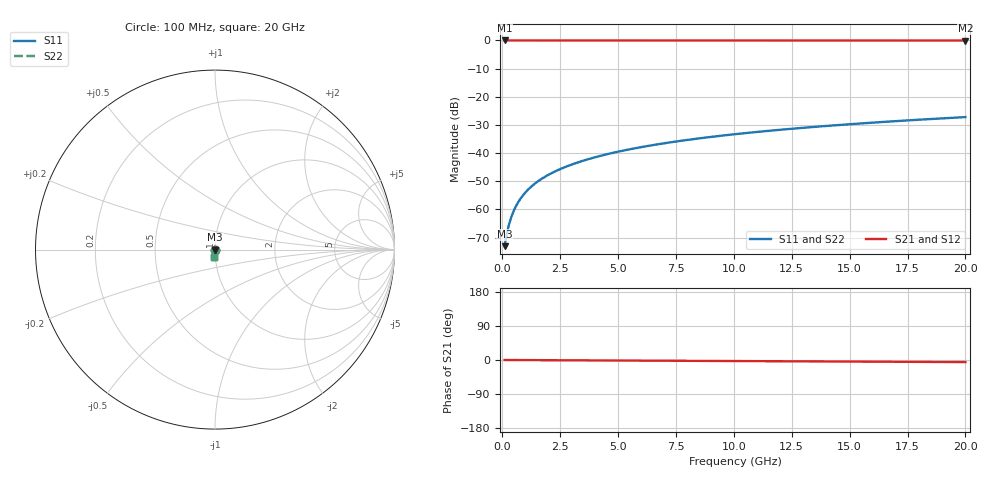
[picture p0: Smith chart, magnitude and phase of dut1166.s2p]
! Touchstone file exported from HFSS 2026.1.0
!  File:  C:/ffzhzh/LocalFiles/Ansys_Project_Files/temp_train_TSV_1166_1783191869_51560.aedt
!  Generated:  03:05:52 AM Jul  5, 2026
!  Design:  TSV
!  Project:  temp_train_TSV_1166_1783191869_51560
! Variables:
!  h_bsmrdl = 2um
!  h_ox = 20um
!  h_rdl = 5um
!  h_sub = 51.14um
!  h_tmrdl = 5um
!  h_tsv = 51.14um
!  h_via = 3um
!  l_bsmrdl = 300um
!  l_sub = 415.58um
!  l_tmrdl = 200um
!  m_sub = 200um
!  pitch = 21.1um
!  r_tsv = 7.79um
!  s_tmrdl = 10um
!  w_bsmrdl = 18um
!  w_sub = 500um
!  w_tmrdl = 12um
!  x_tsv_center1 = 206um
!  x_tsv_center2 = 524um
!  x_tsv_center3 = 736um
!  x_tsv_center4 = 1054um
!  x_tsv_center5 = 1266um
!  x_tsv_center6 = 1584um
# GHz S MA R 50.000000
! Terminal data exported
! Port[1] = TSV1_1_T1
! Port[2] = TSV1_1_T2
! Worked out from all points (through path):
!   200 points, 100 MHz to 20 GHz, reference 50 ohm
!   highest |S21| = 0.00 dB at 100 MHz (marker M1); lowest = 0.0 dB at 20 GHz (marker M2)
!   lowest |S11| = -73.0 dB at 100 MHz (marker M3), VSWR 1.00, Z = 50 - j0.0171 ohm
!   |S11| at or under -10 dB: start of sweep to end of sweep
!   |S22| runs from -73.0 to -27.2 dB; largest |S21 - S12| = 3e-15
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0.1  0.0002234 -49.8  0.9999 -0.0  0.9999 -0.0  0.0002234 -49.8
! Gamma 0 0 0 0
! Port Impedance 50 0 50 0
0.2  0.0003826 -65.0  0.9998 -0.1  0.9998 -0.1  0.0003826 -65.0
0.3  0.0005633 -70.8  0.9998 -0.1  0.9998 -0.1  0.0005633 -70.8
0.4  0.0007562 -73.8  0.9998 -0.1  0.9998 -0.1  0.0007562 -73.8
0.5  0.0009572 -75.8  0.9998 -0.1  0.9998 -0.1  0.0009572 -75.8
0.7  0.001373 -78.4  0.9997 -0.2  0.9997 -0.2  0.001373 -78.4
0.8  0.001584 -79.4  0.9997 -0.2  0.9997 -0.2  0.001584 -79.4
1  0.00201 -80.9  0.9997 -0.3  0.9997 -0.3  0.00201 -80.9
1.2  0.002436 -82.1  0.9996 -0.3  0.9996 -0.3  0.002436 -82.1
1.4  0.002863 -83.0  0.9996 -0.4  0.9996 -0.4  0.002863 -83.0
1.7  0.003503 -84.0  0.9996 -0.5  0.9996 -0.5  0.003503 -84.0
2  0.004143 -84.8  0.9996 -0.6  0.9996 -0.6  0.004143 -84.8
2.7  0.00564 -86.0  0.9995 -0.8  0.9995 -0.8  0.00564 -86.0
3.5  0.00736 -86.8  0.9994 -1.0  0.9994 -1.0  0.00736 -86.8
4.2  0.008873 -87.4  0.9994 -1.2  0.9994 -1.2  0.008873 -87.4
5  0.01061 -87.9  0.9993 -1.4  0.9993 -1.4  0.01061 -87.9
6.8  0.01455 -88.9  0.9991 -1.9  0.9991 -1.9  0.01455 -88.9
8.3  0.01785 -89.6  0.999 -2.3  0.999 -2.3  0.01785 -89.6
10.1  0.02181 -90.3  0.9988 -2.8  0.9988 -2.8  0.02181 -90.3
13.4  0.02908 -91.6  0.9985 -3.7  0.9985 -3.7  0.02908 -91.6
16.7  0.03636 -92.7  0.9981 -4.6  0.9981 -4.6  0.03636 -92.7
20  0.04364 -93.7  0.9977 -5.5  0.9977 -5.5  0.04364 -93.7
